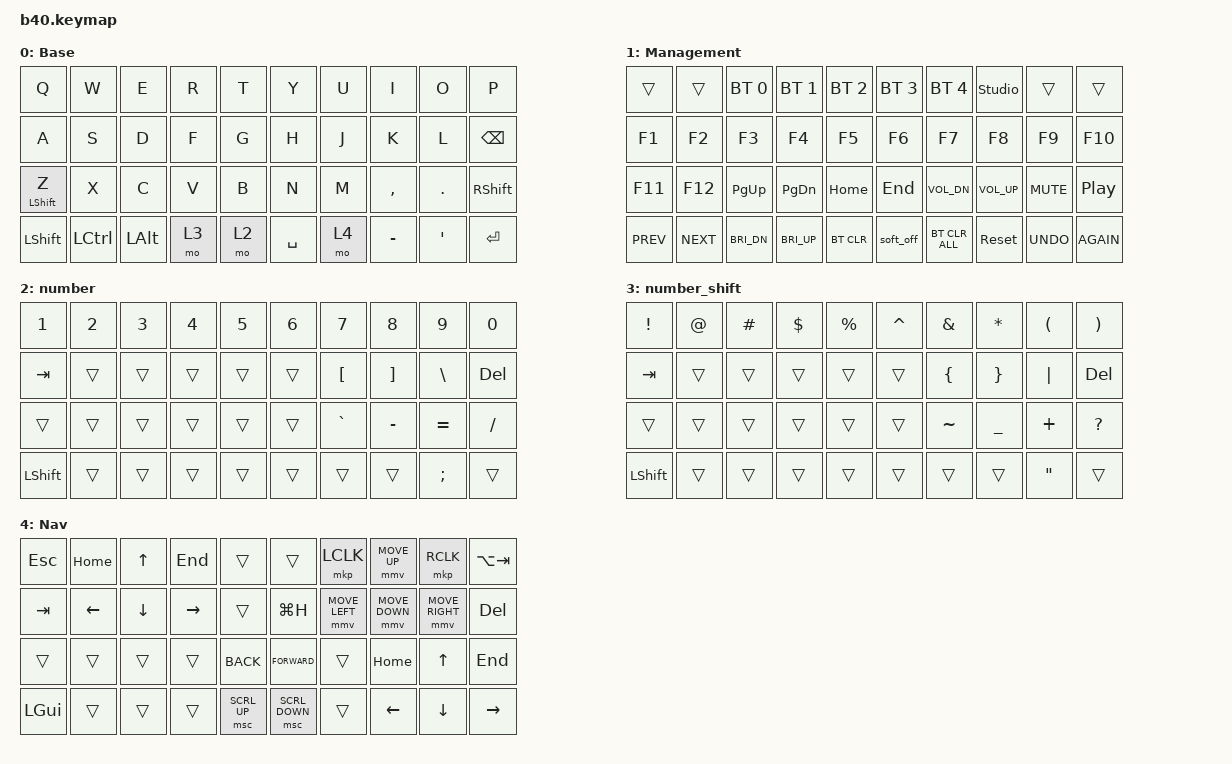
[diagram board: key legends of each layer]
// This file was generated from a template. Edit it to match your keyboard.
// See https://zmk.dev/docs/development/hardware-integration/new-shield for more instructions.

#include <behaviors.dtsi>
#include <dt-bindings/zmk/bt.h>
#include <dt-bindings/zmk/keys.h>
#define ZMK_POINTING_DEFAULT_SCRL_VAL 30
#include <dt-bindings/zmk/pointing.h>

&soft_off {
    hold-time-ms = <2000>;
};

&msc {
    time-to-max-speed-ms = <300>;
    acceleration-exponent = <0>;
};

/ {
    behaviors {
        z_shift: z_shift {
            compatible = "zmk,behavior-hold-tap";
            #binding-cells = <2>;
            flavor = "hold-preferred";
            tapping-term-ms = <1000>;
            retro-tap;
            bindings = <&kp>, <&kp>;
            display-name = "Z/Left Shift";
        };
    };

    combos {
        compatible = "zmk,combos";

        management_combo {
            timeout-ms = <100>;
            key-positions = <0 9>;
            bindings = <&mo 1>;
            layers = <0>;
        };

    };

    keymap {
        compatible = "zmk,keymap";

        default_layer {
            display-name = "Base";
            bindings = <
                &kp Q     &kp W    &kp E    &kp R &kp T &kp Y     &kp U    &kp I     &kp O    &kp P
                &kp A     &kp S    &kp D    &kp F &kp G &kp H     &kp J    &kp K     &kp L    &kp BSPC
                &z_shift LSHIFT Z &kp X    &kp C    &kp V &kp B &kp N     &kp M    &kp COMMA &kp DOT  &kp RSHFT
                &kp LSHFT         &kp LCTL &kp LALT &mo 3 &mo 2 &kp SPACE &mo 4 &kp MINUS &kp APOS &kp ENTER
            >;
        };

        management_layer {
            display-name = "Management";
            bindings = <
                &trans       &trans       &bt BT_SEL 0 &bt BT_SEL 1 &bt BT_SEL 2 &bt BT_SEL 3 &bt BT_SEL 4 &studio_unlock &trans &trans
                &kp F1       &kp F2       &kp F3       &kp F4       &kp F5       &kp F6          &kp F7 &kp F8 &kp F9 &kp F10
                &kp F11      &kp F12      &kp PG_UP    &kp PG_DN    &kp HOME     &kp END         &kp C_VOL_DN &kp C_VOL_UP &kp C_MUTE &kp C_PP
                &kp C_PREV   &kp C_NEXT   &kp C_BRI_DN &kp C_BRI_UP &bt BT_CLR   &soft_off       &bt BT_CLR_ALL &sys_reset &kp K_UNDO &kp K_AGAIN
            >;
        };

        number_layer {
            display-name = "number";
            bindings = <
                &kp N1     &kp N2 &kp N3 &kp N4 &kp N5 &kp N6 &kp N7    &kp N8    &kp N9    &kp N0
                &kp TAB    &trans  &trans  &trans  &trans  &trans  &kp LBKT  &kp RBKT  &kp BSLH  &kp DELETE
                &trans     &trans  &trans  &trans  &trans  &trans  &kp GRAVE &kp MINUS &kp EQUAL &kp FSLH
                &kp LSHFT  &trans  &trans  &trans  &trans  &trans  &trans     &trans     &kp SEMI  &trans
            >;
        };

        number_shift_layer {
            display-name = "number_shift";
            bindings = <
                &kp EXCL   &kp AT &kp HASH &kp DLLR &kp PRCNT &kp CARET &kp AMPS  &kp ASTRK &kp LPAR &kp RPAR
                &kp TAB    &trans &trans   &trans   &trans    &trans    &kp LBRC  &kp RBRC  &kp PIPE &kp DELETE
                &trans     &trans &trans   &trans   &trans    &trans    &kp TILDE &kp UNDER &kp PLUS &kp QUESTION
                &kp LSHFT  &trans &trans   &trans   &trans    &trans    &trans    &trans    &kp DQT  &trans
            >;
        };

        nav_layer {
            display-name = "Nav";
            bindings = <
                &kp ESC  &kp HOME &kp UP   &kp END   &trans        &trans           &mkp LCLK       &mmv MOVE_UP   &mkp RCLK       &kp LA(TAB)
                &kp TAB  &kp LEFT &kp DOWN &kp RIGHT &trans        &kp LG(H)         &mmv MOVE_LEFT  &mmv MOVE_DOWN &mmv MOVE_RIGHT &kp DELETE
                &trans   &trans   &trans   &trans    &kp K_BACK    &kp K_FORWARD    &trans          &kp HOME       &kp UP          &kp END
                &kp LGUI &trans   &trans   &trans    &msc SCRL_UP   &msc SCRL_DOWN   &trans          &kp LEFT       &kp DOWN        &kp RIGHT
            >;
        };
    };
};
